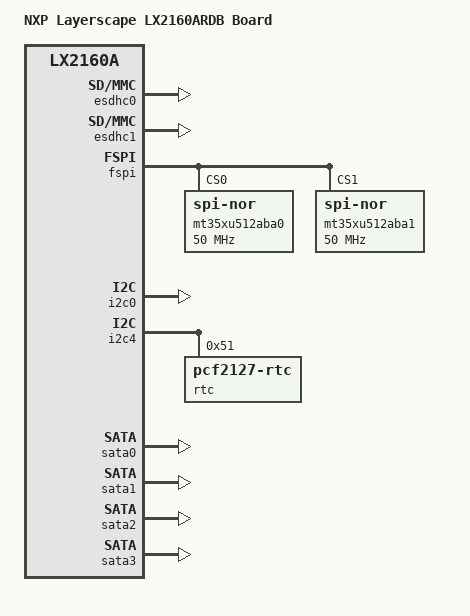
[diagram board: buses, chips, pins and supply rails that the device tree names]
// SPDX-License-Identifier: GPL-2.0+ OR X11
/*
 * NXP LX2160ARDB device tree source
 *
 * Author:	Priyanka Jain <priyanka.jain@nxp.com>
 *		Sriram Dash <sriram.dash@nxp.com>
 *
 * Copyright 2018 NXP
 *
 */

/dts-v1/;

#include "fsl-lx2160a.dtsi"

/ {
	model = "NXP Layerscape LX2160ARDB Board";
	compatible = "fsl,lx2160ardb", "fsl,lx2160a";
	aliases {
		spi0 = &fspi;
	};
};

&esdhc0 {
	status = "okay";
};

&esdhc1 {
	status = "okay";
	mmc-hs200-1_8v;
};

&fspi {
	status = "okay";

	mt35xu512aba0: flash@0 {
		#address-cells = <1>;
		#size-cells = <1>;
		compatible = "jedec,spi-nor";
		spi-max-frequency = <50000000>;
		reg = <0>;
		spi-rx-bus-width = <8>;
		spi-tx-bus-width = <1>;
	};

	mt35xu512aba1: flash@1 {
		#address-cells = <1>;
		#size-cells = <1>;
		compatible = "jedec,spi-nor";
		spi-max-frequency = <50000000>;
		reg = <1>;
		spi-rx-bus-width = <8>;
		spi-tx-bus-width = <1>;
	};
};

&i2c0 {
	status = "okay";
	u-boot,dm-pre-reloc;
};

&i2c4 {
	status = "okay";

	rtc@51 {
		compatible = "pcf2127-rtc";
		reg = <0x51>;
	};
};

&sata0 {
	status = "okay";
};

&sata1 {
	status = "okay";
};

&sata2 {
	status = "okay";
};

&sata3 {
	status = "okay";
};
